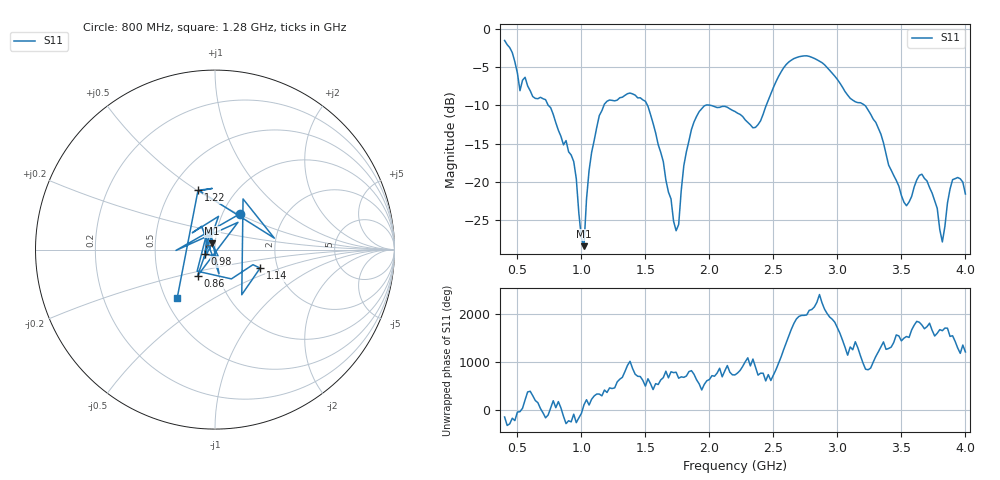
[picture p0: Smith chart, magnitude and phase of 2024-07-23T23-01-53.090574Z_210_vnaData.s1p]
!Created with skrf (http://scikit-rf.org).
# Hz S RI R 50.0
!freq ReS11 ImS11
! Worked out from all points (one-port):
!   181 points, 400 MHz to 4 GHz, reference 50 ohm
!   lowest |S11| = -28.4 dB at 1.02 GHz (marker M1), VSWR 1.08, Z = 48.3 + j3.35 ohm
!   |S11| at or under -10 dB: 1.517 GHz to 1.969 GHz (452.1 MHz wide, 25.9 % of centre); 2.011 GHz to 2.444 GHz (432.7 MHz wide, 19.4 % of centre); 3.214 GHz to end of sweep (the widest 3 of 4)
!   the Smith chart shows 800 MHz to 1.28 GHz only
!   S11 on the Smith chart (normalised r, x): 800 MHz: 1.21, +0.51; 860 MHz: 0.79, -0.24; 980 MHz: 0.89, -0.04; 1.14 GHz: 1.62, -0.36; 1.22 GHz: 0.68, +0.51; 1.28 GHz: 0.57, -0.35
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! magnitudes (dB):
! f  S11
! 400 MHz  -1.5
! 520 MHz  -8.1
! 560 MHz  -6.3
! 800 MHz  -12.3
! 860 MHz  -15.1
! 940 MHz  -17.3
! 980 MHz  -24.1
! 1.02 GHz  -28.4
! 1.06 GHz  -18.5
! 1.14 GHz  -11.3
! 1.22 GHz  -9.3
! 1.28 GHz  -9.3
! 1.3 GHz  -9.0
! 1.52 GHz  -10.1
! 1.76 GHz  -25.6
! 1.8 GHz  -17.9
! 1.9 GHz  -11.4
! 2.2 GHz  -10.8
! 2.36 GHz  -12.9
! 2.66 GHz  -3.9
! 3.1 GHz  -9.1
! 3.3 GHz  -12.2
! 3.56 GHz  -22.6
! 3.66 GHz  -19.0
! 3.78 GHz  -23.4
! 3.82 GHz  -27.8
! 3.9 GHz  -19.7
! 4 GHz  -21.6
